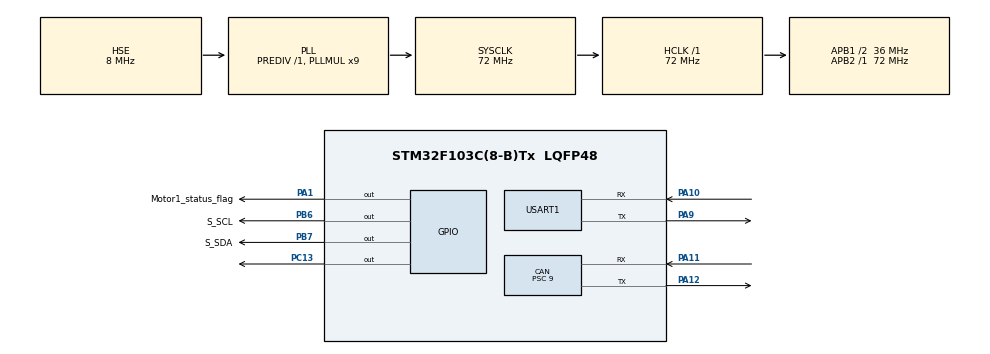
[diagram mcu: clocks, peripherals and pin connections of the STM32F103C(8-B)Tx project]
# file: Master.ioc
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CAN.ABOM=ENABLE
CAN.BS1=CAN_BS1_6TQ
CAN.CalculateBaudRate=500000
CAN.CalculateTimeBit=2000
CAN.CalculateTimeQuantum=250.0
CAN.NART=ENABLE
CAN.Prescaler=9
FREERTOS.Tasks01=defaultTask,24,128,StartDefaultTask,Default,NULL,Dynamic,NULL,NULL;UartTask,43,1024,prvUartTask,Default,NULL,Dynamic,NULL,NULL;OledTask,41,128,prvOledTask,Default,NULL,Dynamic,NULL,NULL;HeartBestTask,44,128,prvCANHeartBeatTask,Default,NULL,Dynamic,NULL,NULL
FREERTOS.configCHECK_FOR_STACK_OVERFLOW=2
FREERTOS.configTOTAL_HEAP_SIZE=10240
Mcu.Family=STM32F1
Mcu.Name=STM32F103C(8-B)Tx
Mcu.Package=LQFP48
NVIC.CAN1_RX1_IRQn=true\:5\:0\:false\:false\:true\:true\:true\:true\:true
NVIC.PriorityGroup=NVIC_PRIORITYGROUP_4
NVIC.TIM4_IRQn=true\:15\:0\:false\:false\:true\:false\:false\:true\:true
NVIC.TimeBase=TIM4_IRQn
NVIC.TimeBaseIP=TIM4
NVIC.USART1_IRQn=true\:5\:0\:false\:false\:true\:true\:true\:true\:true
PA1.GPIO_Label=Motor1_status_flag
PA1.GPIO_Speed=GPIO_SPEED_FREQ_HIGH
PA1.Signal=GPIO_Output
PA10.Mode=Asynchronous
PA10.Signal=USART1_RX
PA11.GPIO_PuPd=GPIO_PULLUP
PA11.Mode=CAN_Activate
PA11.Signal=CAN_RX
PA12.Mode=CAN_Activate
PA12.Signal=CAN_TX
PA13.Mode=Serial_Wire
PA13.Signal=SYS_JTMS-SWDIO
PA14.Mode=Serial_Wire
PA14.Signal=SYS_JTCK-SWCLK
PA9.Mode=Asynchronous
PA9.Signal=USART1_TX
PB6.GPIO_Label=S_SCL
PB6.GPIO_ModeDefaultOutputPP=GPIO_MODE_OUTPUT_PP
PB6.GPIO_PuPd=GPIO_NOPULL
PB6.GPIO_Speed=GPIO_SPEED_FREQ_HIGH
PB6.PinState=GPIO_PIN_SET
PB6.Signal=GPIO_Output
PB7.GPIO_Label=S_SDA
PB7.GPIO_ModeDefaultOutputPP=GPIO_MODE_OUTPUT_PP
PB7.GPIO_PuPd=GPIO_NOPULL
PB7.GPIO_Speed=GPIO_SPEED_FREQ_HIGH
PB7.PinState=GPIO_PIN_SET
PB7.Signal=GPIO_Output
PC13-TAMPER-RTC.GPIO_ModeDefaultOutputPP=GPIO_MODE_OUTPUT_OD
PC13-TAMPER-RTC.GPIO_PuPd=GPIO_PULLUP
PC13-TAMPER-RTC.GPIO_Speed=GPIO_SPEED_FREQ_HIGH
PC13-TAMPER-RTC.PinState=GPIO_PIN_RESET
PC13-TAMPER-RTC.Signal=GPIO_Output
PD0-OSC_IN.Mode=HSE-External-Oscillator
PD0-OSC_IN.Signal=RCC_OSC_IN
PD1-OSC_OUT.Mode=HSE-External-Oscillator
PD1-OSC_OUT.Signal=RCC_OSC_OUT
ProjectManager.HeapSize=0x200
ProjectManager.StackSize=0x400
ProjectManager.TargetToolchain=MDK-ARM V5.32
RCC.AHBFreq_Value=72000000
RCC.APB1CLKDivider=RCC_HCLK_DIV2
RCC.APB1Freq_Value=36000000
RCC.APB1TimFreq_Value=72000000
RCC.APB2Freq_Value=72000000
RCC.APB2TimFreq_Value=72000000
RCC.HCLKFreq_Value=72000000
RCC.PLLMUL=RCC_PLL_MUL9
RCC.PLLSourceVirtual=RCC_PLLSOURCE_HSE
RCC.SYSCLKFreq_VALUE=72000000
RCC.SYSCLKSource=RCC_SYSCLKSOURCE_PLLCLK
RCC.USBFreq_Value=72000000
USART1.VirtualMode=VM_ASYNC
VP_FREERTOS_VS_CMSIS_V2.Mode=CMSIS_V2
VP_SYS_VS_tim4.Mode=TIM4
board=custom

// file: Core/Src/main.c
/* USER CODE BEGIN Header */
/**
  ******************************************************************************
  * @file           : main.c
  * @brief          : Main program body
  ******************************************************************************
  * @attention
  *
  * Copyright (c) 2026 STMicroelectronics.
  * All rights reserved.
  *
  * This software is licensed under terms that can be found in the LICENSE file
  * in the root directory of this software component.
  * If no LICENSE file comes with this software, it is provided AS-IS.
  *
  ******************************************************************************
  */
/* USER CODE END Header */
#include "main.h"
#include "cmsis_os.h"
#include "can.h"
#include "usart.h"
#include "gpio.h"

/* USER CODE BEGIN Includes */
#include "my_u8g2.h"
#include "queue.h"
#include "convention.h"
#include <stdio.h>

/* USER CODE END Includes */

/* USER CODE BEGIN PD */
u8g2_t u8g2;
QueueHandle_t canRx_queue;
QueueHandle_t uartRx_queue;
CAN_struct canRx_struct = {0};
uint8_t byte;
char UartRxBuf[50];
uint8_t indexOfURB = 0;

/* USER CODE END PD */

void SystemClock_Config(void);
void MX_FREERTOS_Init(void);
/* USER CODE BEGIN PFP */
void HAL_CAN_RxFifo1MsgPendingCallback(CAN_HandleTypeDef *hcan);
void HAL_UART_RxCpltCallback(UART_HandleTypeDef *huart);
int fputc(int ch, FILE *f);

/* USER CODE END PFP */

int main(void)
{

  /* MCU Configuration--------------------------------------------------------*/

  /* Reset of all peripherals, Initializes the Flash interface and the Systick. */
  HAL_Init();

  /* Configure the system clock */
  SystemClock_Config();

  /* Initialize all configured peripherals */
  MX_GPIO_Init();
  MX_CAN_Init();
  MX_USART1_UART_Init();
  /* USER CODE BEGIN 2 */
	u8g2Init(&u8g2);
	u8g2_SetFont(&u8g2, u8g2_font_6x10_tf);

	canRx_queue = osMessageQueueNew(5, sizeof(canRx_struct), NULL);
	uartRx_queue = osMessageQueueNew(5, sizeof(UartRxBuf), NULL);

	CAN_FilterTypeDef sFilterConfig;

	sFilterConfig.FilterBank = 0;
	sFilterConfig.FilterMode = CAN_FILTERMODE_IDMASK;
	sFilterConfig.FilterScale = CAN_FILTERSCALE_16BIT;
	sFilterConfig.FilterIdHigh = 0x000;
	sFilterConfig.FilterIdLow = 0x0000;
	sFilterConfig.FilterMaskIdHigh = 0x0F0;
	sFilterConfig.FilterMaskIdLow = 0x0000;
	sFilterConfig.FilterActivation = ENABLE;
	sFilterConfig.FilterFIFOAssignment = CAN_FILTER_FIFO1;

	HAL_CAN_ConfigFilter(&hcan, &sFilterConfig);
	HAL_CAN_Start(&hcan);
	HAL_CAN_ActivateNotification(&hcan, CAN_IT_RX_FIFO1_MSG_PENDING);

	HAL_UART_Receive_IT(&huart1, &byte, 1);

  /* USER CODE END 2 */

  /* Init scheduler */
  osKernelInitialize();  /* Call init function for freertos objects (in cmsis_os2.c) */
  MX_FREERTOS_Init();

  /* Start scheduler */
  osKernelStart();

  /* We should never get here as control is now taken by the scheduler */

  /* Infinite loop */
  while (1)
  {

  }
}

void SystemClock_Config(void)
{
  RCC_OscInitTypeDef RCC_OscInitStruct = {0};
  RCC_ClkInitTypeDef RCC_ClkInitStruct = {0};

  /** Initializes the RCC Oscillators according to the specified parameters
  * in the RCC_OscInitTypeDef structure.
  */
  RCC_OscInitStruct.OscillatorType = RCC_OSCILLATORTYPE_HSE;
  RCC_OscInitStruct.HSEState = RCC_HSE_ON;
  RCC_OscInitStruct.HSEPredivValue = RCC_HSE_PREDIV_DIV1;
  RCC_OscInitStruct.HSIState = RCC_HSI_ON;
  RCC_OscInitStruct.PLL.PLLState = RCC_PLL_ON;
  RCC_OscInitStruct.PLL.PLLSource = RCC_PLLSOURCE_HSE;
  RCC_OscInitStruct.PLL.PLLMUL = RCC_PLL_MUL9;
  if (HAL_RCC_OscConfig(&RCC_OscInitStruct) != HAL_OK)
  {
    Error_Handler();
  }

  /** Initializes the CPU, AHB and APB buses clocks
  */
  RCC_ClkInitStruct.ClockType = RCC_CLOCKTYPE_HCLK|RCC_CLOCKTYPE_SYSCLK
                              |RCC_CLOCKTYPE_PCLK1|RCC_CLOCKTYPE_PCLK2;
  RCC_ClkInitStruct.SYSCLKSource = RCC_SYSCLKSOURCE_PLLCLK;
  RCC_ClkInitStruct.AHBCLKDivider = RCC_SYSCLK_DIV1;
  RCC_ClkInitStruct.APB1CLKDivider = RCC_HCLK_DIV2;
  RCC_ClkInitStruct.APB2CLKDivider = RCC_HCLK_DIV1;

  if (HAL_RCC_ClockConfig(&RCC_ClkInitStruct, FLASH_LATENCY_2) != HAL_OK)
  {
    Error_Handler();
  }
}

/* USER CODE BEGIN 4 */
void HAL_CAN_RxFifo1MsgPendingCallback(CAN_HandleTypeDef *hcan)
{
	if(hcan->Instance == CAN1)
	{
		static CAN_RxHeaderTypeDef RxHeader;

		if(HAL_CAN_GetRxMessage(hcan, CAN_RX_FIFO1, &RxHeader, canRx_struct.Can_data) == HAL_OK)
		{
			canRx_struct.Can_Id = RxHeader.StdId;
			osMessageQueuePut(canRx_queue, (void *)&canRx_struct, 0, 0);
		}
	}
}

void HAL_UART_RxCpltCallback(UART_HandleTypeDef *huart)
{
	if(huart->Instance == USART1)
	{
		UartRxBuf[indexOfURB++] = byte;

		if(byte == '\r' || byte == '\n' || indexOfURB == 49)
		{
			UartRxBuf[indexOfURB] = '\0';

			osMessageQueuePut(uartRx_queue, (void *)&UartRxBuf, 0, 0);

			indexOfURB = 0;
			UartRxBuf[0] = '\0';
		}

		HAL_UART_Receive_IT(&huart1, &byte, 1);
	}
}

int fputc(int ch, FILE *f)
{
	HAL_UART_Transmit(&huart1, (uint8_t *)&ch, 1, HAL_MAX_DELAY);
	return ch;
}

/* USER CODE END 4 */

void HAL_TIM_PeriodElapsedCallback(TIM_HandleTypeDef *htim)
{
  if (htim->Instance == TIM4)
  {
    HAL_IncTick();
  }
}

void Error_Handler(void)
{
  __disable_irq();
  while (1)
  {
  }
}

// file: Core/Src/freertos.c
/* USER CODE BEGIN Header */
/**
  ******************************************************************************
  * File Name          : freertos.c
  * Description        : Code for freertos applications
  ******************************************************************************
  * @attention
  *
  * Copyright (c) 2026 STMicroelectronics.
  * All rights reserved.
  *
  * This software is licensed under terms that can be found in the LICENSE file
  * in the root directory of this software component.
  * If no LICENSE file comes with this software, it is provided AS-IS.
  *
  ******************************************************************************
  */
/* USER CODE END Header */

#include "FreeRTOS.h"
#include "task.h"
#include "main.h"
#include "cmsis_os.h"

/* USER CODE BEGIN Includes */
#include "convention.h"
#include "can.h"
#include "my_u8g2.h"
#include "gpio.h"
#include "queue.h"
#include <stdio.h>
#include "usart.h"

/* USER CODE END Includes */

/* USER CODE BEGIN PD */
extern u8g2_t u8g2;
extern QueueHandle_t canRx_queue;
extern QueueHandle_t uartRx_queue;
static uint8_t motorstatus[MOTORNUM+1] = {0};
static CAN_struct canTx_struct = {0};
static uint32_t last_status_time = 0;
static uint32_t txMailbox;

/* USER CODE END PD */

/* Definitions for defaultTask */
osThreadId_t defaultTaskHandle;
const osThreadAttr_t defaultTask_attributes = {
  .name = "defaultTask",
  .stack_size = 128 * 4,
  .priority = (osPriority_t) osPriorityNormal,
};
/* Definitions for UartTask */
osThreadId_t UartTaskHandle;
const osThreadAttr_t UartTask_attributes = {
  .name = "UartTask",
  .stack_size = 1024 * 4,
  .priority = (osPriority_t) osPriorityHigh3,
};
/* Definitions for OledTask */
osThreadId_t OledTaskHandle;
const osThreadAttr_t OledTask_attributes = {
  .name = "OledTask",
  .stack_size = 128 * 4,
  .priority = (osPriority_t) osPriorityHigh1,
};
/* Definitions for HeartBestTask */
osThreadId_t HeartBestTaskHandle;
const osThreadAttr_t HeartBestTask_attributes = {
  .name = "HeartBestTask",
  .stack_size = 128 * 4,
  .priority = (osPriority_t) osPriorityHigh4,
};

void StartDefaultTask(void *argument);
void prvUartTask(void *argument);
void prvOledTask(void *argument);
void prvCANHeartBeatTask(void *argument);

void MX_FREERTOS_Init(void); /* (MISRA C 2004 rule 8.1) */

/* Hook prototypes */
void vApplicationStackOverflowHook(xTaskHandle xTask, signed char *pcTaskName);

/* USER CODE BEGIN 4 */
void vApplicationStackOverflowHook(xTaskHandle xTask, signed char *pcTaskName)
{
   /* Run time stack overflow checking is performed if
   configCHECK_FOR_STACK_OVERFLOW is defined to 1 or 2. This hook function is
   called if a stack overflow is detected. */
}
/* USER CODE END 4 */

void MX_FREERTOS_Init(void) {

  /* Create the thread(s) */
  /* creation of defaultTask */
  defaultTaskHandle = osThreadNew(StartDefaultTask, NULL, &defaultTask_attributes);

  /* creation of UartTask */
  UartTaskHandle = osThreadNew(prvUartTask, NULL, &UartTask_attributes);

  /* creation of OledTask */
  OledTaskHandle = osThreadNew(prvOledTask, NULL, &OledTask_attributes);

  /* creation of HeartBestTask */
  HeartBestTaskHandle = osThreadNew(prvCANHeartBeatTask, NULL, &HeartBestTask_attributes);

}

void StartDefaultTask(void *argument)
{
  for(;;)
  {
    osDelay(1);
  }
}

void prvUartTask(void *argument)
{
  /* USER CODE BEGIN prvUartTask */
  /* Infinite loop */
  for(;;)
  {
		// #1.检查uart队列
		static char uartTemp[50];
		while(osMessageQueueGet(uartRx_queue, (void *)uartTemp, NULL, 0) == osOK)
		{
			int temp_num = 0;
			float temp_target_speed = 0.0f;
			float temp_kp = 0.0f;
			float temp_ki = 0.0f;
			float temp_kd = 0.0f;

			static CAN_TxHeaderTypeDef TxHeader;

			if(sscanf(uartTemp, "SET%f TO MOTOR%d", &temp_target_speed, &temp_num) == 2)
			{
				if(temp_num == 1)
				{
					uint16_t u_temp_speed = (uint16_t)((int16_t)(temp_target_speed * 100.0f));

					canTx_struct.Can_data[0] = u_temp_speed;
					canTx_struct.Can_data[1] = (u_temp_speed) >> 8;

					TxHeader.StdId = CAN_ID_MOTOR1_TARGET_SPEED;
					TxHeader.IDE = CAN_ID_STD;
					TxHeader.DLC = CAN_DLC_MOTOR1_TARGET_SPEED;
					TxHeader.RTR = CAN_RTR_DATA;
					TxHeader.TransmitGlobalTime = DISABLE;

					HAL_CAN_AddTxMessage(&hcan, &TxHeader, canTx_struct.Can_data, &txMailbox);
				}
			}
			else if(sscanf(uartTemp, "KP%f KI%f KD%f TO MOTOR%d", &temp_kp, &temp_ki, &temp_kd, &temp_num) == 4)
			{
				if(temp_num == 1)
				{
					motorstatus[1] = 1;

					uint16_t kp = (uint16_t)(temp_kp * 100.0f);
					uint16_t ki = (uint16_t)(temp_ki * 100.0f);
					uint16_t kd = (uint16_t)(temp_kd * 100.0f);

					canTx_struct.Can_data[0] = kp;
					canTx_struct.Can_data[1] = kp >> 8;
					canTx_struct.Can_data[2] = ki;
					canTx_struct.Can_data[3] = ki >> 8;
					canTx_struct.Can_data[4] = kd;
					canTx_struct.Can_data[5] = kd >> 8;

					TxHeader.StdId = CAN_ID_MOTOR1_PID;
					TxHeader.IDE = CAN_ID_STD;
					TxHeader.DLC = CAN_DLC_MOTOR1_PID;
					TxHeader.RTR = CAN_RTR_DATA;
					TxHeader.TransmitGlobalTime = DISABLE;

					HAL_CAN_AddTxMessage(&hcan, &TxHeader, canTx_struct.Can_data, &txMailbox);
				}
			}
		}

		// #2.检查can队列
		static CAN_struct tempStruct = {0};
		while(osMessageQueueGet(canRx_queue, (void *)&tempStruct, NULL, 0) == osOK)
		{
			if(tempStruct.Can_Id == CAN_ID_MOTOR1_STATUS)
			{
				last_status_time = HAL_GetTick();
				motorstatus[1] = 1;

				static uint16_t PWM;
				static uint16_t u_current_speed;
				PWM = tempStruct.Can_data[0] + (tempStruct.Can_data[1] << 8);
				u_current_speed = tempStruct.Can_data[2] + (tempStruct.Can_data[3] << 8);

				float current_speed = ((float)u_current_speed) / 100.f;
				float duty_cycle = (((float)PWM) / 1799.0f) * 100.0f;

				printf("%.2f,%.2f\r\n", current_speed, duty_cycle);
			}
		}

		// #3.确认motor状态
		if(HAL_GetTick() - last_status_time >= EMERGENCY_TIME)
		{
			motorstatus[1] = 0;
		}

    osDelay(50);
  }
  /* USER CODE END prvUartTask */
}

void prvOledTask(void *argument)
{
  /* USER CODE BEGIN prvOledTask */
  /* Infinite loop */
  for(;;)
  {
		u8g2_ClearBuffer(&u8g2);

		if(motorstatus[1] == 1)
		{
			u8g2_DrawStr(&u8g2, 12, 12, "MOTOR1 RUNNING...");
			HAL_GPIO_WritePin(GPIOA, Motor1_status_flag_Pin, GPIO_PIN_RESET);
		}
		else
		{
			u8g2_DrawStr(&u8g2, 12, 12, "MOTOR1 FAULT!!");
			HAL_GPIO_WritePin(GPIOA, Motor1_status_flag_Pin, GPIO_PIN_SET);
		}

		u8g2_SendBuffer(&u8g2);

    osDelay(100);
  }
  /* USER CODE END prvOledTask */
}

void prvCANHeartBeatTask(void *argument)
{
  /* USER CODE BEGIN prvCANHeartBeatTask */
	TickType_t xlast_time = xTaskGetTickCount();

  /* Infinite loop */
  for(;;)
  {
		// #1.向受控节点发送心跳
		static CAN_TxHeaderTypeDef TxHeader;
		static uint8_t heart[1] = {1};

		TxHeader.StdId = CAN_ID_MASTER_HEARTBEAT;
		TxHeader.DLC = CAN_DLC_MASTER_HEARTBEAT;
		TxHeader.RTR = CAN_RTR_DATA;
		TxHeader.IDE = CAN_ID_STD;
		TxHeader.TransmitGlobalTime = DISABLE;

		HAL_CAN_AddTxMessage(&hcan, &TxHeader, heart, &txMailbox);

		MasterOnBoardLEDStatus();

		// #2.睡“50”ms
    vTaskDelayUntil(&xlast_time, pdMS_TO_TICKS(50));
  }
  /* USER CODE END prvCANHeartBeatTask */
}
